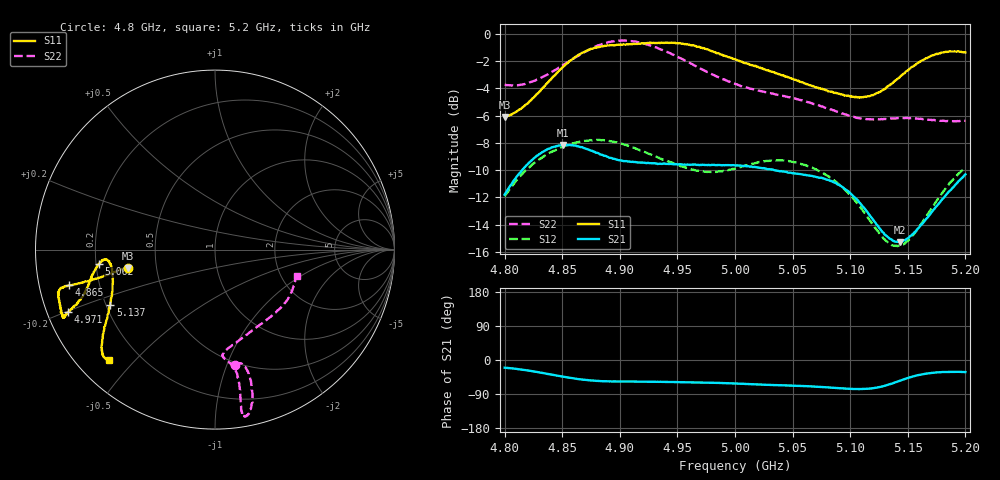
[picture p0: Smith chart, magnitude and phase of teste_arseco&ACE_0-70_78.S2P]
! Network Analyzer HP8722D
! Hewlett-Packard
! Data name: Linha & Wilkinson
! Saver's name: Rodrigo Anjos
! Comments: Teste da utilização de aquisição
! continua pelo VNA HP8722D
! Time and date: 8/5/2025 13:24
!  Frequency  S11  S21  S12  S22
# HZ  S  MA R 50
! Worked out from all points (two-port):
!   401 points, 4.8 GHz to 5.2 GHz, reference 50 ohm
!   highest |S21| = -8.15 dB at 4.851 GHz (marker M1); lowest = -15.3 dB at 5.143 GHz (marker M2)
!   |S21| within 3 dB of the highest: 4.805 GHz to 5.092 GHz (286.7 MHz wide, 5.79 % of centre); 5.190619 GHz to end of sweep
!   lowest |S11| = -6.1 dB at 4.8 GHz (marker M3), VSWR 2.96, Z = 17.1 - j4.64 ohm
!   |S11| at or under -10 dB: nowhere
!   |S22| runs from -6.4 to -0.5 dB; largest |S21 - S12| = 0.62
!   S11 on the Smith chart (normalised r, x): 4.8 GHz: 0.34, -0.09; 4.865 GHz: 0.09, -0.12; 4.971 GHz: 0.06, -0.20; 5.062 GHz: 0.21, -0.06; 5.137 GHz: 0.22, -0.24; 5.2 GHz: 0.09, -0.42
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4.8e9  0.4948 -168.0  0.257 -20.3  0.2536 -141.4  0.6509 -80.2
4.826e9  0.5882 -167.1  0.351 -30.6  0.3358 -145.4  0.673 -75.7
4.851e9  0.7577 -166.0  0.3913 -44.2  0.3849 -149.9  0.769 -74.8
4.865e9  0.839 -166.3  0.3851 -50.7  0.4013 -152.3  0.8358 -75.5
4.867e9  0.85 -166.1  0.3841 -51.4  0.4032 -152.6  0.8458 -75.8
4.879e9  0.8892 -165.9  0.3662 -55.0  0.4073 -154.6  0.8963 -76.9
4.901e9  0.912 -162.8  0.3432 -56.7  0.3955 -157.1  0.9446 -79.5
4.934e9  0.926 -156.8  0.3335 -57.7  0.351 -155.9  0.8807 -80.6
4.971e9  0.8883 -156.9  0.3302 -59.5  0.3129 -146.7  0.7417 -79.7
5e9  0.8062 -159.5  0.3289 -62.2  0.3205 -137.6  0.6552 -81.4
5.036e9  0.7154 -166.2  0.3147 -66.3  0.3428 -135.0  0.5978 -85.6
5.062e9  0.6527 -172.8  0.3028 -69.1  0.3288 -136.9  0.5635 -83.6
5.067e9  0.643 -173.5  0.301 -69.8  0.3229 -137.2  0.5552 -82.5
5.084e9  0.6129 -174.9  0.2881 -73.1  0.2939 -138.9  0.5267 -76.0
5.102e9  0.5868 -171.8  0.2556 -76.4  0.2508 -139.0  0.4963 -65.4
5.116e9  0.5898 -165.3  0.2183 -75.8  0.2098 -135.3  0.4857 -55.2
5.134e9  0.6457 -153.9  0.1775 -64.4  0.1696 -119.7  0.4881 -42.9
5.137e9  0.6603 -152.1  0.1741 -61.4  0.1675 -115.8  0.4894 -41.2
5.143e9  0.6925 -149.1  0.1723 -54.7  0.1669 -107.9  0.4897 -37.8
5.154e9  0.7573 -144.5  0.1838 -43.9  0.1817 -94.4  0.4897 -32.1
5.172e9  0.8343 -139.2  0.2252 -33.7  0.2336 -81.1  0.4827 -24.4
5.2e9  0.8537 -133.9  0.305 -31.9  0.3224 -77.2  0.4799 -17.5
